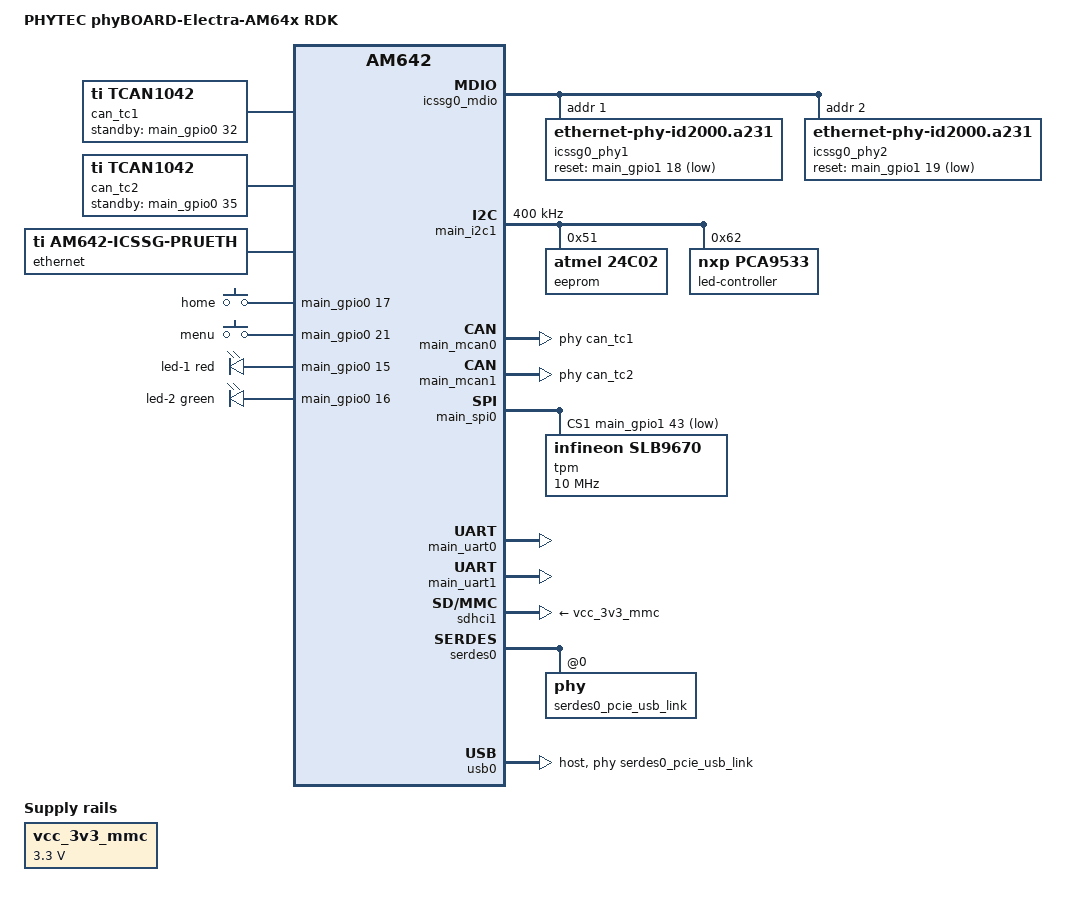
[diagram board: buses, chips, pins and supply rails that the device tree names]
// SPDX-License-Identifier: GPL-2.0-only OR MIT
/*
 * Copyright (C) 2021-2024 PHYTEC America, LLC - https://www.phytec.com
 * Author: Matt McKee <mmckee@phytec.com>
 *
 * Copyright (C) 2022-2024 PHYTEC Messtechnik GmbH
 * Author: Wadim Egorov <w.egorov@phytec.de>
 *
 * Product homepage:
 * https://www.phytec.com/product/phyboard-am64x
 */

/dts-v1/;

#include <dt-bindings/gpio/gpio.h>
#include <dt-bindings/input/input.h>
#include <dt-bindings/leds/common.h>
#include <dt-bindings/leds/leds-pca9532.h>
#include <dt-bindings/phy/phy.h>
#include "k3-am642.dtsi"
#include "k3-am64-phycore-som.dtsi"

#include "k3-serdes.h"

/ {
	compatible = "phytec,am642-phyboard-electra-rdk",
		     "phytec,am64-phycore-som", "ti,am642";
	model = "PHYTEC phyBOARD-Electra-AM64x RDK";

	aliases {
		ethernet1 = &icssg0_emac0;
		ethernet2 = &icssg0_emac1;
		mmc1 = &sdhci1;
		serial2 = &main_uart0;
		serial3 = &main_uart1;
	};

	chosen {
		stdout-path = &main_uart0;
	};

	can_tc1: can-phy0 {
		compatible = "ti,tcan1042";
		pinctrl-names = "default";
		pinctrl-0 = <&can_tc1_pins_default>;
		#phy-cells = <0>;
		max-bitrate = <8000000>;
		standby-gpios = <&main_gpio0 32 GPIO_ACTIVE_HIGH>;
	};

	can_tc2: can-phy1 {
		compatible = "ti,tcan1042";
		pinctrl-names = "default";
		pinctrl-0 = <&can_tc2_pins_default>;
		#phy-cells = <0>;
		max-bitrate = <8000000>;
		standby-gpios = <&main_gpio0 35 GPIO_ACTIVE_HIGH>;
	};

	/* Dual Ethernet application node on PRU-ICSSG0 */
	ethernet {
		compatible = "ti,am642-icssg-prueth";
		pinctrl-names = "default";
		pinctrl-0 = <&icssg0_rgmii1_pins_default>, <&icssg0_rgmii2_pins_default>;

		interrupt-parent = <&icssg0_intc>;
		interrupts = <24 0 2>, <25 1 3>;
		interrupt-names = "tx_ts0", "tx_ts1";

		sram = <&oc_sram>;
		firmware-name = "ti-pruss/am65x-sr2-pru0-prueth-fw.elf",
				"ti-pruss/am65x-sr2-rtu0-prueth-fw.elf",
				"ti-pruss/am65x-sr2-txpru0-prueth-fw.elf",
				"ti-pruss/am65x-sr2-pru1-prueth-fw.elf",
				"ti-pruss/am65x-sr2-rtu1-prueth-fw.elf",
				"ti-pruss/am65x-sr2-txpru1-prueth-fw.elf";

		dmas = <&main_pktdma 0xc100 15>, /* egress slice 0 */
		       <&main_pktdma 0xc101 15>, /* egress slice 0 */
		       <&main_pktdma 0xc102 15>, /* egress slice 0 */
		       <&main_pktdma 0xc103 15>, /* egress slice 0 */
		       <&main_pktdma 0xc104 15>, /* egress slice 1 */
		       <&main_pktdma 0xc105 15>, /* egress slice 1 */
		       <&main_pktdma 0xc106 15>, /* egress slice 1 */
		       <&main_pktdma 0xc107 15>, /* egress slice 1 */
		       <&main_pktdma 0x4100 15>, /* ingress slice 0 */
		       <&main_pktdma 0x4101 15>; /* ingress slice 1 */
		dma-names = "tx0-0", "tx0-1", "tx0-2", "tx0-3",
			    "tx1-0", "tx1-1", "tx1-2", "tx1-3",
			    "rx0", "rx1";

		ti,prus = <&pru0_0>, <&rtu0_0>, <&tx_pru0_0>, <&pru0_1>, <&rtu0_1>, <&tx_pru0_1>;
		ti,pruss-gp-mux-sel = <2>,	/* MII mode */
				      <2>,
				      <2>,
				      <2>,	/* MII mode */
				      <2>,
				      <2>;

		ti,mii-g-rt = <&icssg0_mii_g_rt>;
		ti,mii-rt = <&icssg0_mii_rt>;
		ti,iep = <&icssg0_iep0>, <&icssg0_iep1>;
		ti,pa-stats = <&icssg0_pa_stats>;

		ethernet-ports {
			#address-cells = <1>;
			#size-cells = <0>;
			icssg0_emac0: port@0 {
				reg = <0>;
				phy-handle = <&icssg0_phy1>;
				phy-mode = "rgmii-id";
				/* Filled in by bootloader */
				local-mac-address = [00 00 00 00 00 00];
				ti,syscon-rgmii-delay = <&main_conf 0x4100>;
			};

			icssg0_emac1: port@1 {
				reg = <1>;
				phy-handle = <&icssg0_phy2>;
				phy-mode = "rgmii-id";
				/* Filled in by bootloader */
				local-mac-address = [00 00 00 00 00 00];
				ti,syscon-rgmii-delay = <&main_conf 0x4104>;
			};
		};
	};

	keys {
		compatible = "gpio-keys";
		autorepeat;
		pinctrl-names = "default";
		pinctrl-0 = <&gpio_keys_pins_default>;

		key-home {
			label = "home";
			linux,code = <KEY_HOME>;
			gpios = <&main_gpio0 17 GPIO_ACTIVE_HIGH>;
		};

		key-menu {
			label = "menu";
			linux,code = <KEY_MENU>;
			gpios = <&main_gpio0 21 GPIO_ACTIVE_HIGH>;
		};
	};

	leds {
		compatible = "gpio-leds";
		pinctrl-names = "default";
		pinctrl-0 = <&leds_pins_default>, <&user_leds_pins_default>;

		led-1 {
			color = <LED_COLOR_ID_RED>;
			gpios = <&main_gpio0 15 GPIO_ACTIVE_HIGH>;
			linux,default-trigger = "mmc0";
			function = LED_FUNCTION_DISK;
		};

		led-2 {
			color = <LED_COLOR_ID_GREEN>;
			gpios = <&main_gpio0 16 GPIO_ACTIVE_HIGH>;
			linux,default-trigger = "mmc1";
			function = LED_FUNCTION_DISK;
		};
	};

	vcc_3v3_mmc: regulator-sd {
		/* TPS22963C */
		compatible = "regulator-fixed";
		regulator-name = "VCC_3V3_MMC";
		regulator-min-microvolt = <3300000>;
		regulator-max-microvolt = <3300000>;
		regulator-boot-on;
		regulator-always-on;
		bootph-all;
	};
};

&main_pmx0 {
	can_tc1_pins_default: can-tc1-default-pins {
		pinctrl-single,pins = <
			AM64X_IOPAD(0x0084, PIN_OUTPUT, 7)	/* (P16) GPMC0_ADVn_ALE.GPIO0_32 */
		>;
	};

	can_tc2_pins_default: can-tc2-default-pins {
		pinctrl-single,pins = <
			AM64X_IOPAD(0x0090, PIN_OUTPUT, 7)	/* (P17) GPMC0_BE0n_CLE.GPIO0_35 */
		>;
	};

	clkout0_pins_default: clkout0-default-pins {
		pinctrl-single,pins = <
			AM64X_IOPAD(0x0274, PIN_OUTPUT, 5)	/* (A19) EXT_REFCLK1.CLKOUT0 */
		>;
	};

	gpio_keys_pins_default: gpio-keys-default-pins {
		pinctrl-single,pins = <
			AM64X_IOPAD(0x0044, PIN_INPUT, 7)	/* (T18) GPMC0_AD2.GPIO0_17 */
			AM64X_IOPAD(0x0054, PIN_INPUT, 7)	/* (V20) GPMC0_AD6.GPIO0_21 */
		>;
	};

	icssg0_mdio_pins_default: icssg0-mdio-default-pins {
		pinctrl-single,pins = <
			AM64X_IOPAD(0x0200, PIN_INPUT, 0)	/* (P2) PRG0_MDIO0_MDIO */
			AM64X_IOPAD(0x0204, PIN_OUTPUT, 0)	/* (P3) PRG0_MDIO0_MDC */
			AM64X_IOPAD(0x01A8, PIN_OUTPUT, 7)	/* (V1) PRG0_PRU0_GPO18.GPIO1_18 */
			AM64X_IOPAD(0x01AC, PIN_OUTPUT, 7)	/* (W1) PRG0_PRU0_GPO19.GPIO1_19 */
		>;
	};

	icssg0_rgmii1_pins_default: icssg0-rgmii1-default-pins {
		pinctrl-single,pins = <
			AM64X_IOPAD(0x0160, PIN_INPUT, 2)	/* (Y1) PRG0_PRU0_GPO0.PRG0_RGMII1_RD0 */
			AM64X_IOPAD(0x0164, PIN_INPUT, 2)	/* (R4) PRG0_PRU0_GPO1.PRG0_RGMII1_RD1 */
			AM64X_IOPAD(0x0168, PIN_INPUT, 2)	/* (U2) PRG0_PRU0_GPO2.PRG0_RGMII1_RD2 */
			AM64X_IOPAD(0x016c, PIN_INPUT, 2)	/* (V2) PRG0_PRU0_GPO3.PRG0_RGMII1_RD3 */
			AM64X_IOPAD(0x0170, PIN_INPUT, 2)	/* (AA2) PRG0_PRU0_GPO4.PRG0_RGMII1_RX_CTL */
			AM64X_IOPAD(0x0178, PIN_INPUT, 2)	/* (T3) PRG0_PRU0_GPO6.PRG0_RGMII1_RXC */
			AM64X_IOPAD(0x018c, PIN_OUTPUT, 2)	/* (Y3) PRG0_PRU0_GPO11.PRG0_RGMII1_TD0 */
			AM64X_IOPAD(0x0190, PIN_OUTPUT, 2)	/* (AA3) PRG0_PRU0_GPO12.PRG0_RGMII1_TD1 */
			AM64X_IOPAD(0x0194, PIN_OUTPUT, 2)	/* (R6) PRG0_PRU0_GPO13.PRG0_RGMII1_TD2 */
			AM64X_IOPAD(0x0198, PIN_OUTPUT, 2)	/* (V4) PRG0_PRU0_GPO14.PRG0_RGMII1_TD3 */
			AM64X_IOPAD(0x019c, PIN_OUTPUT, 2)	/* (T5) PRG0_PRU0_GPO15.PRG0_RGMII1_TX_CTL */
			AM64X_IOPAD(0x01a0, PIN_OUTPUT, 2)	/* (U4) PRG0_PRU0_GPO16.PRG0_RGMII1_TXC */
		>;
	};

	icssg0_rgmii2_pins_default: icssg0-rgmii2-default-pins {
		pinctrl-single,pins = <
			AM64X_IOPAD(0x01b0, PIN_INPUT, 2)	/* (Y2) PRG0_PRU1_GPO0.PRG0_RGMII2_RD0 */
			AM64X_IOPAD(0x01b4, PIN_INPUT, 2)	/* (W2) PRG0_PRU1_GPO1.PRG0_RGMII2_RD1 */
			AM64X_IOPAD(0x01b8, PIN_INPUT, 2)	/* (V3) PRG0_PRU1_GPO2.PRG0_RGMII2_RD2 */
			AM64X_IOPAD(0x01bc, PIN_INPUT, 2)	/* (T4) PRG0_PRU1_GPO3.PRG0_RGMII2_RD3 */
			AM64X_IOPAD(0x01c0, PIN_INPUT, 2)	/* (W3) PRG0_PRU1_GPO4.PRG0_RGMII2_RX_CTL */
			AM64X_IOPAD(0x01c8, PIN_INPUT, 2)	/* (R5) PRG0_PRU1_GPO6.PRG0_RGMII2_RXC */
			AM64X_IOPAD(0x01dc, PIN_OUTPUT, 2)	/* (W4) PRG0_PRU1_GPO11.PRG0_RGMII2_TD0 */
			AM64X_IOPAD(0x01e0, PIN_OUTPUT, 2)	/* (Y4) PRG0_PRU1_GPO12.PRG0_RGMII2_TD1 */
			AM64X_IOPAD(0x01e4, PIN_OUTPUT, 2)	/* (T6) PRG0_PRU1_GPO13.PRG0_RGMII2_TD2 */
			AM64X_IOPAD(0x01e8, PIN_OUTPUT, 2)	/* (U6) PRG0_PRU1_GPO14.PRG0_RGMII2_TD3 */
			AM64X_IOPAD(0x01ec, PIN_OUTPUT, 2)	/* (U5) PRG0_PRU1_GPO15.PRG0_RGMII2_TX_CTL */
			AM64X_IOPAD(0x01f0, PIN_OUTPUT, 2)	/* (AA4) PRG0_PRU1_GPO16.PRG0_RGMII2_TXC */
		>;
	};

	main_i2c1_pins_default: main-i2c1-default-pins {
		pinctrl-single,pins = <
			AM64X_IOPAD(0x0268, PIN_INPUT, 0)	/* (C18) I2C1_SCL */
			AM64X_IOPAD(0x026c, PIN_INPUT, 0)	/* (B19) I2C1_SDA */
		>;
	};

	main_mcan0_pins_default: main-mcan0-default-pins {
		pinctrl-single,pins = <
			AM64X_IOPAD(0x0250, PIN_OUTPUT, 0)	/* (A17) MCAN0_TX */
			AM64X_IOPAD(0x0254, PIN_INPUT, 0)	/* (B17) MCAN0_RX */
		>;
	};

	main_mcan1_pins_default: main-mcan1-default-pins {
		pinctrl-single,pins = <
			AM64X_IOPAD(0x0258, PIN_OUTPUT, 0)	/* (C17) MCAN1_TX */
			AM64X_IOPAD(0x025c, PIN_INPUT, 0)	/* (D17) MCAN1_RX */
		>;
	};

	main_mmc1_pins_default: main-mmc1-default-pins {
		pinctrl-single,pins = <
			AM64X_IOPAD(0x027c, PIN_INPUT_PULLUP, 0)	/* (K18) MMC1_DAT3 */
			AM64X_IOPAD(0x0280, PIN_INPUT_PULLUP, 0)	/* (K19) MMC1_DAT2 */
			AM64X_IOPAD(0x0284, PIN_INPUT_PULLUP, 0)	/* (L21) MMC1_DAT1 */
			AM64X_IOPAD(0x0288, PIN_INPUT_PULLUP, 0)	/* (K21) MMC1_DAT0 */
			AM64X_IOPAD(0x028c, PIN_INPUT_PULLDOWN, 0)	/* (L20) MMC1_CLK */
			AM64X_IOPAD(0x0290, PIN_INPUT, 0)		/* MMC1_CLKLB */
			AM64X_IOPAD(0x0294, PIN_INPUT_PULLUP, 0)	/* (J19) MMC1_CMD */
			AM64X_IOPAD(0x0298, PIN_INPUT_PULLUP, 0)	/* (D19) MMC1_SDCD */
		>;
		bootph-all;
	};

	main_spi0_pins_default: main-spi0-default-pins {
		pinctrl-single,pins = <
			AM64X_IOPAD(0x020c, PIN_OUTPUT, 7)	/* (C13) SPI0_CS1.GPIO1_43 */
			AM64X_IOPAD(0x0210, PIN_INPUT, 0)	/* (D13) SPI0_CLK */
			AM64X_IOPAD(0x0214, PIN_OUTPUT, 0)	/* (A13) SPI0_D0 */
			AM64X_IOPAD(0x0218, PIN_INPUT, 0)	/* (A14) SPI0_D1 */
		>;
	};

	main_uart0_pins_default: main-uart0-default-pins {
		pinctrl-single,pins = <
			AM64X_IOPAD(0x0230, PIN_INPUT, 0)	/* (D15) UART0_RXD */
			AM64X_IOPAD(0x0234, PIN_OUTPUT, 0)	/* (C16) UART0_TXD */
		>;
		bootph-all;
	};

	main_uart1_pins_default: main-uart1-default-pins {
		pinctrl-single,pins = <
			AM64X_IOPAD(0x0248, PIN_INPUT, 0)	/* (D16) UART1_CTSn */
			AM64X_IOPAD(0x024C, PIN_OUTPUT, 0)	/* (E16) UART1_RTSn */
			AM64X_IOPAD(0x0240, PIN_INPUT, 0)	/* (E15) UART1_RXD */
			AM64X_IOPAD(0x0244, PIN_OUTPUT, 0)	/* (E14) UART1_TXD */
		>;
	};

	main_usb0_pins_default: main-usb0-default-pins {
		pinctrl-single,pins = <
			AM64X_IOPAD(0x02a8, PIN_OUTPUT, 0)	/* (E19) USB0_DRVVBUS */
		>;
	};

	user_leds_pins_default: user-leds-default-pins {
		pinctrl-single,pins = <
			AM64X_IOPAD(0x003c, PIN_OUTPUT, 7)	/* (T20) GPMC0_AD0.GPIO0_15 */
			AM64X_IOPAD(0x0040, PIN_OUTPUT, 7)	/* (U21) GPMC0_AD1.GPIO0_16 */
		>;
	};
};

&icssg0_mdio {
	pinctrl-names = "default";
	pinctrl-0 = <&icssg0_mdio_pins_default &clkout0_pins_default>;
	assigned-clocks = <&k3_clks 157 123>;
	assigned-clock-parents = <&k3_clks 157 125>;
	status = "okay";

	icssg0_phy1: ethernet-phy@1 {
		compatible = "ethernet-phy-id2000.a231", "ethernet-phy-ieee802.3-c22";
		reg = <0x1>;
		tx-fifo-depth = <DP83867_PHYCR_FIFO_DEPTH_4_B_NIB>;
		rx-fifo-depth = <DP83867_PHYCR_FIFO_DEPTH_4_B_NIB>;
		reset-gpios = <&main_gpio1 18 GPIO_ACTIVE_LOW>;
		reset-assert-us = <1000>;
		reset-deassert-us = <1000>;
		ti,rx-internal-delay = <DP83867_RGMIIDCTL_2_00_NS>;
	};

	icssg0_phy2: ethernet-phy@2 {
		compatible = "ethernet-phy-id2000.a231", "ethernet-phy-ieee802.3-c22";
		reg = <0x2>;
		tx-fifo-depth = <DP83867_PHYCR_FIFO_DEPTH_4_B_NIB>;
		rx-fifo-depth = <DP83867_PHYCR_FIFO_DEPTH_4_B_NIB>;
		reset-gpios = <&main_gpio1 19 GPIO_ACTIVE_LOW>;
		reset-assert-us = <1000>;
		reset-deassert-us = <1000>;
		ti,rx-internal-delay = <DP83867_RGMIIDCTL_2_00_NS>;
	};
};

&i2c_som_rtc {
	trickle-resistor-ohms = <3000>;
};

&main_i2c1 {
	pinctrl-names = "default";
	pinctrl-0 = <&main_i2c1_pins_default>;
	clock-frequency = <400000>;
	status = "okay";

	eeprom@51 {
		compatible = "atmel,24c02";
		pagesize = <16>;
		reg = <0x51>;
	};

	led-controller@62 {
		compatible = "nxp,pca9533";
		reg = <0x62>;

		led-3 {
			label = "red:user";
			type = <PCA9532_TYPE_LED>;
		};

		led-4 {
			label = "green:user";
			type = <PCA9532_TYPE_LED>;
		};

		led-5 {
			label = "blue:user";
			type = <PCA9532_TYPE_LED>;
		};
	};
};

&main_mcan0 {
	pinctrl-names = "default";
	pinctrl-0 = <&main_mcan0_pins_default>;
	phys = <&can_tc1>;
	status = "okay";
};

&main_mcan1 {
	pinctrl-names = "default";
	pinctrl-0 = <&main_mcan1_pins_default>;
	phys = <&can_tc2>;
	status = "okay";
};

&main_spi0 {
	pinctrl-names = "default";
	pinctrl-0 = <&main_spi0_pins_default>;
	cs-gpios = <0>, <&main_gpio1 43 GPIO_ACTIVE_LOW>;
	ti,pindir-d0-out-d1-in;
	status = "okay";

	tpm@1 {
		compatible = "infineon,slb9670", "tcg,tpm_tis-spi";
		reg = <1>;
		spi-max-frequency = <10000000>;
	};
};

&main_uart0 {
	pinctrl-names = "default";
	pinctrl-0 = <&main_uart0_pins_default>;
	bootph-all;
	status = "okay";
};

&main_uart1 {
	pinctrl-names = "default";
	pinctrl-0 = <&main_uart1_pins_default>;
	uart-has-rtscts;
	status = "okay";
};

&sdhci1 {
	vmmc-supply = <&vcc_3v3_mmc>;
	pinctrl-names = "default";
	pinctrl-0 = <&main_mmc1_pins_default>;
	disable-wp;
	no-1-8-v;
	bootph-all;
	status = "okay";
};

&serdes0 {
	serdes0_pcie_usb_link: phy@0 {
		reg = <0>;
		cdns,num-lanes = <1>;
		#phy-cells = <0>;
		cdns,phy-type = <PHY_TYPE_USB3>;
		resets = <&serdes_wiz0 1>;
	};
};

&serdes_ln_ctrl {
	idle-states = <AM64_SERDES0_LANE0_USB>;
};

&usbss0 {
	ti,vbus-divider;
};

&usb0 {
	pinctrl-names = "default";
	pinctrl-0 = <&main_usb0_pins_default>;
	dr_mode = "host";
	maximum-speed = "super-speed";
	phys = <&serdes0_pcie_usb_link>;
	phy-names = "cdns3,usb3-phy";
};
